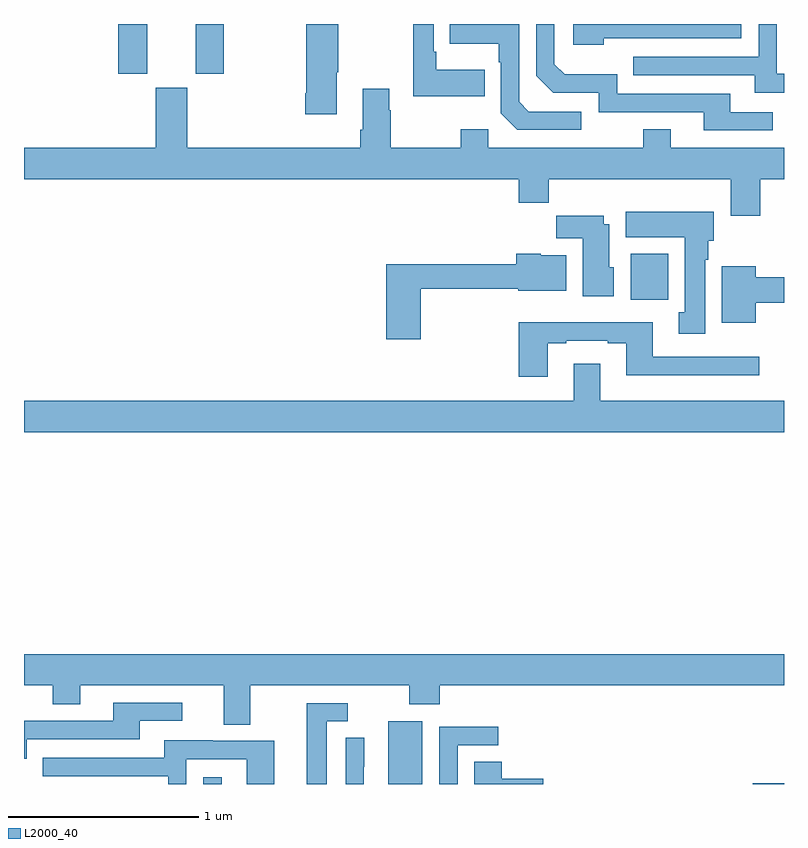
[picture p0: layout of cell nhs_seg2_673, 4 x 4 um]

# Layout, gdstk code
import gdstk
lib = gdstk.Library(unit=1e-6, precision=1e-09)
def R(c, l, rs):  # rectangles x0, y0, x1, y1
    for r in rs: c.add(gdstk.rectangle(r[:2], r[2:], *l))
def P(c, l, *ps):  # polygons
    for p in ps: c.add(gdstk.Polygon(p, *l))
L2000_40 = (2000, 40)

nhs_seg2_673 = lib.new_cell('nhs_seg2_673')
R(nhs_seg2_673, L2000_40, [(145.944,629.8,146.041,629.836), (146.918,629.8,147.097,630.13), (148.835,629.8,149,629.804), (148.193,632.348,148.39,632.59), (145.496,633.537,145.648,633.8), (145.904,633.537,146.052,633.8)])
P(nhs_seg2_673, L2000_40, [(148.052,633.726),(148.776,633.726),(148.776,633.8),(147.891,633.8),(147.891,633.692),(148.052,633.692)],
  [(148.942,633.336),(148.717,633.336),(148.717,633.432),(148.122,633.432),(148.122,633.535),(147.845,633.535),(147.792,633.588),(147.792,633.8),(147.696,633.8),(147.696,633.528),(147.786,633.438),(148.026,633.438),(148.026,633.336),(148.577,633.336),(148.577,633.24),(148.942,633.24)],
  [(147.425,633.559),(147.169,633.559),(147.169,633.655),(147.156,633.655),(147.156,633.8),(147.048,633.8),(147.048,633.419),(147.425,633.419)],
  [(149,633.537),(148.962,633.537),(148.962,633.8),(148.866,633.8),(148.866,633.627),(148.207,633.627),(148.207,633.531),(148.847,633.531),(148.847,633.437),(149,633.437)],
  [(147.934,633.339),(147.657,633.339),(147.606,633.39),(147.606,633.8),(147.241,633.8),(147.241,633.695),(147.498,633.695),(147.498,633.599),(147.51,633.599),(147.51,633.33),(147.597,633.243),(147.934,633.243)],
  [(146.647,633.547),(146.655,633.547),(146.655,633.8),(146.485,633.8),(146.485,633.436),(146.48,633.436),(146.48,633.324),(146.647,633.324)],
  [(148.874,632.984),(149,632.984),(149,633.148),(148.405,633.148),(148.405,633.247),(148.258,633.247),(148.258,633.148),(147.444,633.148),(147.444,633.247),(147.298,633.247),(147.298,633.148),(146.931,633.148),(146.931,633.347),(146.923,633.347),(146.923,633.46),(146.783,633.46),(146.783,633.244),(146.771,633.244),(146.771,633.148),(145.858,633.148),(145.858,633.465),(145.694,633.465),(145.694,633.148),(145,633.148),(145,632.984),(147.605,632.984),(147.605,632.86),(147.761,632.86),(147.761,632.984),(148.721,632.984),(148.721,632.79),(148.874,632.79)],
  [(148.585,632.558),(148.6,632.558),(148.6,632.658),(148.63,632.658),(148.63,632.812),(148.166,632.812),(148.166,632.678),(148.478,632.678),(148.478,632.282),(148.445,632.282),(148.445,632.169),(148.585,632.169)],
  [(148.105,632.52),(148.081,632.52),(148.081,632.746),(148.051,632.746),(148.051,632.791),(147.802,632.791),(147.802,632.672),(147.941,632.672),(147.941,632.366),(148.105,632.366)],
  [(147.089,632.407),(147.602,632.407),(147.602,632.396),(147.853,632.396),(147.853,632.584),(147.72,632.584),(147.72,632.59),(147.59,632.59),(147.59,632.536),(146.906,632.536),(146.906,632.142),(147.089,632.142)],
  [(148.852,632.332),(149,632.332),(149,632.468),(148.852,632.468),(148.852,632.524),(148.673,632.524),(148.673,632.228),(148.852,632.228)],
  [(147.757,632.121),(147.853,632.121),(147.853,632.133),(148.073,632.133),(148.073,632.121),(148.169,632.121),(148.169,631.952),(148.87,631.952),(148.87,632.049),(148.309,632.049),(148.309,632.23),(147.605,632.23),(147.605,631.944),(147.757,631.944)],
  [(149,631.816),(148.033,631.816),(148.033,632.011),(147.893,632.011),(147.893,631.816),(145,631.816),(145,631.652),(149,631.652)],
  [(146.191,630.32),(147.028,630.32),(147.028,630.221),(147.188,630.221),(147.188,630.32),(149,630.32),(149,630.484),(145,630.484),(145,630.32),(145.15,630.32),(145.15,630.221),(145.297,630.221),(145.297,630.32),(146.051,630.32),(146.051,630.112),(146.191,630.112)],
  [(145.014,630.036),(145.609,630.036),(145.609,630.132),(145.834,630.132),(145.834,630.228),(145.469,630.228),(145.469,630.132),(145,630.132),(145,629.933),(145.014,629.933)],
  [(146.593,630.129),(146.704,630.129),(146.704,630.225),(146.489,630.225),(146.489,629.8),(146.593,629.8)],
  [(147.282,630.003),(147.496,630.003),(147.496,630.102),(147.186,630.102),(147.186,629.8),(147.282,629.8)],
  [(146.789,629.89),(146.79,629.89),(146.79,630.044),(146.694,630.044),(146.694,629.8),(146.789,629.8)],
  [(145.854,629.931),(146.172,629.931),(146.172,629.8),(146.317,629.8),(146.317,630.027),(145.993,630.027),(145.993,630.031),(145.739,630.031),(145.739,629.937),(145.099,629.937),(145.099,629.841),(145.758,629.841),(145.758,629.8),(145.854,629.8)],
  [(147.733,629.828),(147.515,629.828),(147.515,629.918),(147.371,629.918),(147.371,629.8),(147.733,629.8)])

lib.write_gds('nhs_seg2_673.gds')
